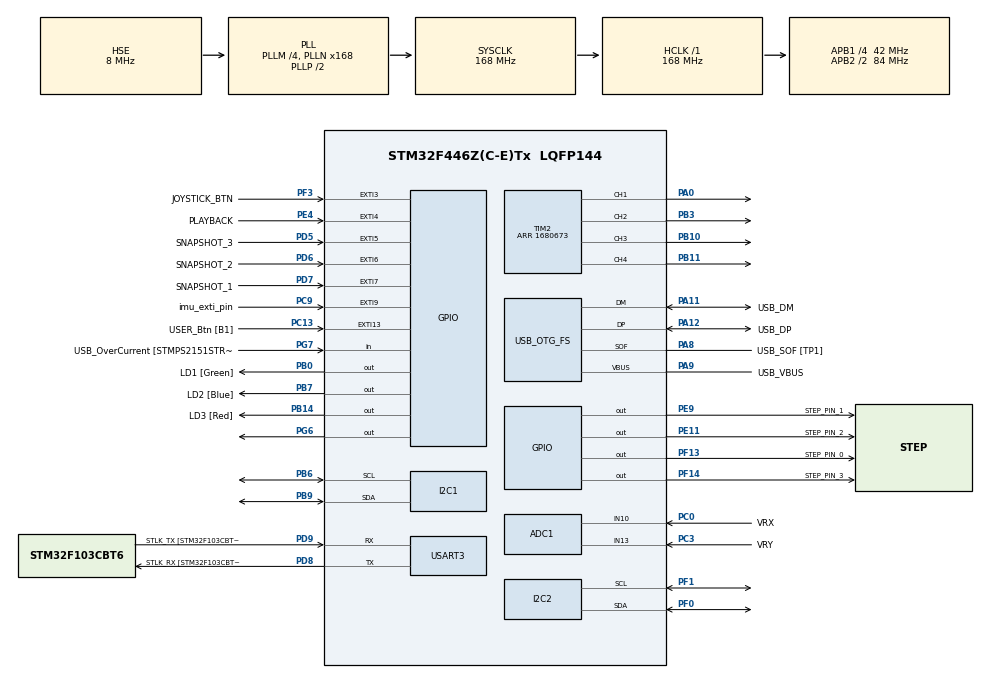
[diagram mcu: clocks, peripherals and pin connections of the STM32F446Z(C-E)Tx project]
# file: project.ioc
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ADC1.Channel-0\#ChannelRegularConversion=ADC_CHANNEL_10
ADC1.Channel-1\#ChannelRegularConversion=ADC_CHANNEL_13
ADC1.ContinuousConvMode=ENABLE
ADC1.NbrOfConversion=2
ADC1.NbrOfConversionFlag=1
ADC1.Rank-0\#ChannelRegularConversion=1
ADC1.Rank-1\#ChannelRegularConversion=2
ADC1.SamplingTime-0\#ChannelRegularConversion=ADC_SAMPLETIME_84CYCLES
ADC1.SamplingTime-1\#ChannelRegularConversion=ADC_SAMPLETIME_84CYCLES
ADC1.ScanConvMode=ENABLE
ADC1.master=1
Dma.ADC1.0.Direction=DMA_PERIPH_TO_MEMORY
Dma.ADC1.0.FIFOMode=DMA_FIFOMODE_DISABLE
Dma.ADC1.0.Instance=DMA2_Stream0
Dma.ADC1.0.MemDataAlignment=DMA_MDATAALIGN_HALFWORD
Dma.ADC1.0.MemInc=DMA_MINC_ENABLE
Dma.ADC1.0.Mode=DMA_CIRCULAR
Dma.ADC1.0.PeriphDataAlignment=DMA_PDATAALIGN_HALFWORD
Dma.ADC1.0.PeriphInc=DMA_PINC_DISABLE
Dma.ADC1.0.Priority=DMA_PRIORITY_LOW
Dma.Request0=ADC1
I2C1.I2C_Mode=I2C_Fast
Mcu.Family=STM32F4
Mcu.Name=STM32F446Z(C-E)Tx
Mcu.Package=LQFP144
NVIC.DMA2_Stream0_IRQn=true\:0\:0\:false\:false\:true\:false\:true\:true
NVIC.EXTI15_10_IRQn=true\:0\:0\:false\:false\:true\:true\:true\:true
NVIC.EXTI3_IRQn=true\:0\:0\:false\:false\:true\:true\:true\:true
NVIC.EXTI4_IRQn=true\:0\:0\:false\:false\:true\:true\:true\:true
NVIC.EXTI9_5_IRQn=true\:0\:0\:false\:false\:true\:true\:true\:true
NVIC.PriorityGroup=NVIC_PRIORITYGROUP_4
NVIC.TIM3_IRQn=true\:0\:0\:false\:false\:true\:true\:true\:true
NVIC.TIM4_IRQn=true\:0\:0\:false\:false\:true\:true\:true\:true
NVIC.TIM7_IRQn=true\:0\:0\:false\:false\:true\:true\:true\:true
PA0-WKUP.Signal=S_TIM2_CH1_ETR
PA10.GPIO_Label=USB_ID
PA10.Signal=USB_OTG_FS_ID
PA11.GPIO_Label=USB_DM
PA11.Mode=Device_Only
PA11.Signal=USB_OTG_FS_DM
PA12.GPIO_Label=USB_DP
PA12.Mode=Device_Only
PA12.Signal=USB_OTG_FS_DP
PA13.GPIO_Label=TMS
PA13.Mode=Serial_Wire
PA13.Signal=SYS_JTMS-SWDIO
PA14.GPIO_Label=TCK
PA14.Mode=Serial_Wire
PA14.Signal=SYS_JTCK-SWCLK
PA8.GPIO_Label=USB_SOF [TP1]
PA8.Mode=Activate_SOF_FS
PA8.Signal=USB_OTG_FS_SOF
PA9.GPIO_Label=USB_VBUS
PA9.Mode=Activate_VBUS
PA9.Signal=USB_OTG_FS_VBUS
PB0.GPIO_Label=LD1 [Green]
PB0.Signal=GPIO_Output
PB10.Signal=S_TIM2_CH3
PB11.Signal=S_TIM2_CH4
PB14.GPIO_Label=LD3 [Red]
PB14.Signal=GPIO_Output
PB3.Signal=S_TIM2_CH2
PB6.Mode=I2C
PB6.Signal=I2C1_SCL
PB7.GPIO_Label=LD2 [Blue]
PB7.Signal=GPIO_Output
PB9.Mode=I2C
PB9.Signal=I2C1_SDA
PC0.GPIO_Label=VRX
PC0.Signal=ADCx_IN10
PC13.GPIO_Label=USER_Btn [B1]
PC13.Signal=GPXTI13
PC14-OSC32_IN.Mode=LSE-External-Oscillator
PC14-OSC32_IN.Signal=RCC_OSC32_IN
PC15-OSC32_OUT.Mode=LSE-External-Oscillator
PC15-OSC32_OUT.Signal=RCC_OSC32_OUT
PC3.GPIO_Label=VRY
PC3.Signal=ADCx_IN13
PC9.GPIO_Label=imu_exti_pin
PC9.Signal=GPXTI9
PD5.GPIO_Label=SNAPSHOT_3
PD5.GPIO_ModeDefaultEXTI=GPIO_MODE_IT_FALLING
PD5.GPIO_PuPd=GPIO_PULLUP
PD5.Signal=GPXTI5
PD6.GPIO_Label=SNAPSHOT_2
PD6.GPIO_ModeDefaultEXTI=GPIO_MODE_IT_FALLING
PD6.GPIO_PuPd=GPIO_PULLUP
PD6.Signal=GPXTI6
PD7.GPIO_Label=SNAPSHOT_1
PD7.GPIO_ModeDefaultEXTI=GPIO_MODE_IT_FALLING
PD7.GPIO_PuPd=GPIO_PULLUP
PD7.Signal=GPXTI7
PD8.GPIO_Label=STLK_RX [STM32F103CBT6_PA3]
PD8.Mode=Asynchronous
PD8.Signal=USART3_TX
PD9.GPIO_Label=STLK_TX [STM32F103CBT6_PA2]
PD9.Mode=Asynchronous
PD9.Signal=USART3_RX
PE11.GPIO_Label=STEP_PIN_2
PE11.Signal=GPIO_Output
PE4.GPIO_Label=PLAYBACK
PE4.GPIO_ModeDefaultEXTI=GPIO_MODE_IT_FALLING
PE4.GPIO_PuPd=GPIO_PULLUP
PE4.Signal=GPXTI4
PE9.GPIO_Label=STEP_PIN_1
PE9.Signal=GPIO_Output
PF0.Mode=I2C
PF0.Signal=I2C2_SDA
PF1.Mode=I2C
PF1.Signal=I2C2_SCL
PF13.GPIO_Label=STEP_PIN_0
PF13.Signal=GPIO_Output
PF14.GPIO_Label=STEP_PIN_3
PF14.Signal=GPIO_Output
PF3.GPIO_Label=JOYSTICK_BTN
PF3.GPIO_ModeDefaultEXTI=GPIO_MODE_IT_FALLING
PF3.GPIO_PuPd=GPIO_PULLUP
PF3.Signal=GPXTI3
PG6.Signal=GPIO_Output
PG7.GPIO_Label=USB_OverCurrent [STMPS2151STR_FAULT]
PG7.Signal=GPIO_Input
PH0-OSC_IN.GPIO_Label=MCO [STM32F103CBT6_PA8]
PH0-OSC_IN.Mode=HSE-External-Clock-Source
PH0-OSC_IN.Signal=RCC_OSC_IN
PH1-OSC_OUT.Mode=HSE-External-Clock-Source
PH1-OSC_OUT.Signal=RCC_OSC_OUT
ProjectManager.HeapSize=0x200
ProjectManager.StackSize=0x400
ProjectManager.TargetToolchain=STM32CubeIDE
RCC.48MHZClocksFreq_Value=24000000
RCC.AHBFreq_Value=168000000
RCC.APB1CLKDivider=RCC_HCLK_DIV4
RCC.APB1Freq_Value=42000000
RCC.APB1TimFreq_Value=84000000
RCC.APB2CLKDivider=RCC_HCLK_DIV2
RCC.APB2Freq_Value=84000000
RCC.APB2TimFreq_Value=168000000
RCC.CortexFreq_Value=168000000
RCC.HCLKFreq_Value=168000000
RCC.HSE_VALUE=8000000
RCC.HSI_VALUE=16000000
RCC.PLLM=4
RCC.PLLMUL=RCC_PLL_MUL9
RCC.PLLN=168
RCC.PLLQ=7
RCC.PRESCALERUSB=RCC_USBCLKSOURCE_PLL_DIV1_5
RCC.SYSCLKFreq_VALUE=168000000
RCC.SYSCLKSource=RCC_SYSCLKSOURCE_PLLCLK
RCC.SYSCLKSourceVirtual=RCC_SYSCLKSOURCE_PLLCLK
RCC.USBFreq_Value=48000000
RCC.VCOOutputFreq_Value=336000000
SH.ADCx_IN10.0=ADC1_IN10,IN10
SH.ADCx_IN13.0=ADC1_IN13,IN13
SH.S_TIM2_CH1_ETR.0=TIM2_CH1,PWM Generation1 CH1
SH.S_TIM2_CH2.0=TIM2_CH2,PWM Generation2 CH2
SH.S_TIM2_CH3.0=TIM2_CH3,PWM Generation3 CH3
SH.S_TIM2_CH4.0=TIM2_CH4,PWM Generation4 CH4
TIM1.Prescaler=84-1
TIM2.Channel-PWM\ Generation1\ CH1=TIM_CHANNEL_1
TIM2.Channel-PWM\ Generation2\ CH2=TIM_CHANNEL_2
TIM2.Channel-PWM\ Generation3\ CH3=TIM_CHANNEL_3
TIM2.Channel-PWM\ Generation4\ CH4=TIM_CHANNEL_4
TIM2.Period=1680673
TIM3.Period=499
TIM3.Prescaler=83
TIM4.Period=30000 - 1
TIM4.Prescaler=84
TIM7.AutoReloadPreload=TIM_AUTORELOAD_PRELOAD_ENABLE
TIM7.Period=1000 - 1
TIM7.Prescaler=84
USART3.VirtualMode=VM_ASYNC
USB_OTG_FS.VirtualMode=Device_Only
VP_TIM1_VS_ClockSourceINT.Mode=Internal
VP_TIM2_VS_ClockSourceINT.Mode=Internal
VP_TIM2_VS_ClockSourceITR.Mode=TriggerSource_ITR0
VP_TIM3_VS_ClockSourceINT.Mode=Internal
VP_TIM4_VS_ClockSourceINT.Mode=Internal
VP_TIM7_VS_ClockSourceINT.Mode=Enable_Timer
board=NUCLEO-F446ZE

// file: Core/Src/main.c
/* USER CODE BEGIN Header */
/**
  ******************************************************************************
  * @file           : main.c
  * @brief          : Main program body
  ******************************************************************************
  * @attention
  *
  * Copyright (c) 2026 STMicroelectronics.
  * All rights reserved.
  *
  * This software is licensed under terms that can be found in the LICENSE file
  * in the root directory of this software component.
  * If no LICENSE file comes with this software, it is provided AS-IS.
  *
  ******************************************************************************
  */
/* USER CODE END Header */
#include "main.h"

/* USER CODE BEGIN Includes */
#include <string.h>
#include <stdio.h>
#include "mpu6050.h"
#include <math.h>
#include "sg90.h"
#include "ssd1306.h"
#include "step_motor.h"
#include "joystick.h"
#ifndef M_PI
#define M_PI 3.14159265358979323846
#endif

/* USER CODE END Includes */

ADC_HandleTypeDef hadc1;
DMA_HandleTypeDef hdma_adc1;

I2C_HandleTypeDef hi2c1;
I2C_HandleTypeDef hi2c2;

TIM_HandleTypeDef htim1;
TIM_HandleTypeDef htim2;
TIM_HandleTypeDef htim3;
TIM_HandleTypeDef htim4;
TIM_HandleTypeDef htim7;

UART_HandleTypeDef huart3;

PCD_HandleTypeDef hpcd_USB_OTG_FS;

void SystemClock_Config(void);
static void MX_GPIO_Init(void);
static void MX_DMA_Init(void);
static void MX_USART3_UART_Init(void);
static void MX_USB_OTG_FS_PCD_Init(void);
static void MX_I2C2_Init(void);
static void MX_TIM1_Init(void);
static void MX_TIM2_Init(void);
static void MX_I2C1_Init(void);
static void MX_ADC1_Init(void);
static void MX_TIM3_Init(void);
static void MX_TIM4_Init(void);
static void MX_TIM7_Init(void);

/* USER CODE BEGIN 0 */
void print_msg(char * msg) {
  HAL_UART_Transmit(&huart3, (uint8_t *)msg, strlen(msg), 100);
}

int8_t current_row = -1, current_col = -1;
int8_t last = -1;
uint8_t it_flag[3] = {0};
int8_t row;
int8_t row_it;
int8_t pressed;
uint64_t disable;
uint64_t disable_start;
char keypad[4][3] = {
   {'1','2','3'},
   {'4','5','6'},
   {'7','8','9'},
   {'*','0','#'}
};

volatile uint8_t imu_flag = 0;
volatile int16_t accel_data[3];
volatile int16_t gyro_data[3];
float accel_g[3];
float gyro_dps[3];
uint8_t msg[100];

uint16_t cur_time = 0;
uint16_t last_tick = 0;
float dt;

uint8_t prev_state=1;
uint8_t current_state=1;
uint8_t idle=0;
uint32_t idle_start;

float gyro_yaw_zero_bias = 0;

//IMU_Angles_t imu_angles = {
//		0.0f, //roll
//		0.0f, //pitch
//		0.0f //yaw
//};

//EulerAngles_t imu_angles;

uint16_t SSD1306_CurrentX;
uint16_t SSD1306_CurrentY;
float x,y,z;
uint16_t counts;
char buffer[100];

uint8_t motor_set_zero = 1;
uint8_t motor_play_back = 0;
uint8_t claw_open_flag = 0;

float mpu6050_get_zero_bias()
{
	uint16_t imu_cal_count = 0;
	float gyro_yaw_zero_bias = 0;
	while(imu_cal_count < 20){
		if (imu_flag){
			gyro_yaw_zero_bias += gyro_data[2];;
			imu_cal_count ++;
			imu_flag = 0;
		}
	}

	return gyro_yaw_zero_bias / imu_cal_count;
}

typedef enum {
	IDLE = 0,
	STATE_1,
	STATE_2,
	STATE_3
}PLAYBACK_STATES_t;

/* USER CODE END 0 */

int main(void)
{

  /* MCU Configuration--------------------------------------------------------*/

  /* Reset of all peripherals, Initializes the Flash interface and the Systick. */
  HAL_Init();

  /* Configure the system clock */
  SystemClock_Config();

  /* Initialize all configured peripherals */
  MX_GPIO_Init();
  MX_DMA_Init();
  MX_USART3_UART_Init();
  MX_USB_OTG_FS_PCD_Init();
  MX_I2C2_Init();
  MX_TIM1_Init();
  MX_TIM2_Init();
  MX_I2C1_Init();
  MX_ADC1_Init();
  MX_TIM3_Init();
  MX_TIM4_Init();
  MX_TIM7_Init();
  /* USER CODE BEGIN 2 */

  if(SSD1306_Init()!= HAL_OK) HAL_GPIO_WritePin(LD3_GPIO_Port, LD3_Pin, GPIO_PIN_SET);
  HAL_Delay(300);
  print_msg("SSD init complete\r\n");
  SSD1306_Clear();
  SSD1306_Stopscroll();

	SSD1306_CurrentX=0;
	SSD1306_CurrentY=0;
	sprintf(buffer, " X %.2f\n \n Y Angle: %.2f\n \n Z Angle: %.2f", x, y, z);//Y angle: %.2f\nZ angle: %.2f
	SSD1306_Puts(buffer, &Font_7x10);
	SSD1306_UpdateScreen();
	HAL_Delay(300);
	SSD1306_Clear();

  if(mpu6050_init(&hi2c2, MPU6050_ACCEL_RANGE_2G, MPU6050_GYRO_RANGE_250) != HAL_OK){
	  HAL_GPIO_WritePin(LD2_GPIO_Port, LD2_Pin, GPIO_PIN_SET);
	  while(1);
  }
  if (adc_dma_init(&hadc1) != HAL_OK) {
	  HAL_GPIO_WritePin(LD3_GPIO_Port, LD3_Pin, GPIO_PIN_SET);
	  while(1);
  }
  if(sg90_init(&htim2) != HAL_OK) {
	  HAL_GPIO_WritePin(LD1_GPIO_Port, LD1_Pin, GPIO_PIN_SET);
	  while(1);
  }

//    sg90_sweep_test(&htim2);

  /* USER CODE END 2 */

  /* Infinite loop */
  /* USER CODE BEGIN WHILE */

//  mpu6050_getAccelValue(&hi2c2, accel_data);
//  mpu6050_getGyroValue(&hi2c2, gyro_data);
//    dps = degrees per second
  HAL_TIM_Base_Start(&htim1);
  HAL_TIM_Base_Start_IT(&htim3);
  HAL_TIM_Base_Start_IT(&htim4);
  HAL_TIM_Base_Start_IT(&htim7);
//  char message[100];
  uint32_t last_joystick_update_tick = HAL_GetTick();
  uint32_t display_adc = HAL_GetTick();
  char message[100];

  while (1)
  {
    /* USER CODE END WHILE */

    /* USER CODE BEGIN 3 */

	  if(motor_set_zero){
		  sg90_set_zero(&htim2);
	  }

	  if (claw_open_flag && !motor_set_zero){
		  claw_motor -> angle = -45.0f;
		  sg90_set_angle(&htim2, claw_motor);
	  }
	  else {
		  claw_motor -> angle = 0.0f;
		  sg90_set_angle(&htim2, claw_motor);
	  }

	  if (target_absolute_steps != current_absolute_steps){
		  HAL_TIM_Base_Start_IT(&htim7);
	  }

	  if(motor_play_back && !motor_set_zero){

		if (idle){
			if ((HAL_GetTick() - idle_start) > 100){
				idle = 0;
			}
		}

		if (current_state == 1&& !idle){
			for (int i = 0; i < IMU_SERVO_MOTOR_COUNT + 1; i ++){
					motors[i].angle = motor_snapshot[0][i];
					sg90_set_angle(&htim2, &motors[i]);
				}
			idle = 1;
			idle_start =  HAL_GetTick();
			current_state = 2;
			prev_state = 1;
			HAL_GPIO_WritePin(LD1_GPIO_Port, LD1_Pin, GPIO_PIN_SET);
			HAL_GPIO_WritePin(LD3_GPIO_Port, LD3_Pin, GPIO_PIN_RESET);
			HAL_GPIO_WritePin(LD2_GPIO_Port, LD2_Pin, GPIO_PIN_RESET);
			HAL_GPIO_WritePin(LD1_GPIO_Port, LD1_Pin, GPIO_PIN_RESET);
		}

		if (current_state == 2&& !idle){
			for (int i = 0; i < IMU_SERVO_MOTOR_COUNT + 1; i ++){
				motors[i].angle = motor_snapshot[1][i];
				sg90_set_angle(&htim2, &motors[i]);
			}
			idle = 1;
			idle_start =  HAL_GetTick();
			if (prev_state == 1){
				current_state = 3;
			}else {
				current_state = 1;
			}
			prev_state == 2;
			HAL_GPIO_WritePin(LD2_GPIO_Port, LD2_Pin, GPIO_PIN_SET);
			HAL_GPIO_WritePin(LD3_GPIO_Port, LD3_Pin, GPIO_PIN_RESET);
			HAL_GPIO_WritePin(LD2_GPIO_Port, LD2_Pin, GPIO_PIN_RESET);
			HAL_GPIO_WritePin(LD1_GPIO_Port, LD1_Pin, GPIO_PIN_RESET);

		}

		if (current_state == 3&& !idle){
			for (int i = 0; i < IMU_SERVO_MOTOR_COUNT + 1; i ++){
				motors[i].angle = motor_snapshot[2][i];
				sg90_set_angle(&htim2, &motors[i]);
			}
			idle = 1;
			idle_start =  HAL_GetTick();
			current_state = 2;
			prev_state = 3;
			HAL_GPIO_WritePin(LD3_GPIO_Port, LD3_Pin, GPIO_PIN_SET);
			HAL_GPIO_WritePin(LD3_GPIO_Port, LD3_Pin, GPIO_PIN_RESET);
			HAL_GPIO_WritePin(LD2_GPIO_Port, LD2_Pin, GPIO_PIN_RESET);
			HAL_GPIO_WritePin(LD1_GPIO_Port, LD1_Pin, GPIO_PIN_RESET);

		}

	  }

  }
  /* USER CODE END 3 */
}

void SystemClock_Config(void)
{
  RCC_OscInitTypeDef RCC_OscInitStruct = {0};
  RCC_ClkInitTypeDef RCC_ClkInitStruct = {0};

  /** Configure the main internal regulator output voltage
  */
  __HAL_RCC_PWR_CLK_ENABLE();
  __HAL_PWR_VOLTAGESCALING_CONFIG(PWR_REGULATOR_VOLTAGE_SCALE1);

  /** Initializes the RCC Oscillators according to the specified parameters
  * in the RCC_OscInitTypeDef structure.
  */
  RCC_OscInitStruct.OscillatorType = RCC_OSCILLATORTYPE_HSE;
  RCC_OscInitStruct.HSEState = RCC_HSE_BYPASS;
  RCC_OscInitStruct.PLL.PLLState = RCC_PLL_ON;
  RCC_OscInitStruct.PLL.PLLSource = RCC_PLLSOURCE_HSE;
  RCC_OscInitStruct.PLL.PLLM = 4;
  RCC_OscInitStruct.PLL.PLLN = 168;
  RCC_OscInitStruct.PLL.PLLP = RCC_PLLP_DIV2;
  RCC_OscInitStruct.PLL.PLLQ = 7;
  RCC_OscInitStruct.PLL.PLLR = 2;
  if (HAL_RCC_OscConfig(&RCC_OscInitStruct) != HAL_OK)
  {
    Error_Handler();
  }

  /** Initializes the CPU, AHB and APB buses clocks
  */
  RCC_ClkInitStruct.ClockType = RCC_CLOCKTYPE_HCLK|RCC_CLOCKTYPE_SYSCLK
                              |RCC_CLOCKTYPE_PCLK1|RCC_CLOCKTYPE_PCLK2;
  RCC_ClkInitStruct.SYSCLKSource = RCC_SYSCLKSOURCE_PLLCLK;
  RCC_ClkInitStruct.AHBCLKDivider = RCC_SYSCLK_DIV1;
  RCC_ClkInitStruct.APB1CLKDivider = RCC_HCLK_DIV4;
  RCC_ClkInitStruct.APB2CLKDivider = RCC_HCLK_DIV2;

  if (HAL_RCC_ClockConfig(&RCC_ClkInitStruct, FLASH_LATENCY_5) != HAL_OK)
  {
    Error_Handler();
  }
}

static void MX_ADC1_Init(void)
{

  ADC_ChannelConfTypeDef sConfig = {0};

  /** Configure the global features of the ADC (Clock, Resolution, Data Alignment and number of conversion)
  */
  hadc1.Instance = ADC1;
  hadc1.Init.ClockPrescaler = ADC_CLOCK_SYNC_PCLK_DIV4;
  hadc1.Init.Resolution = ADC_RESOLUTION_12B;
  hadc1.Init.ScanConvMode = ENABLE;
  hadc1.Init.ContinuousConvMode = ENABLE;
  hadc1.Init.DiscontinuousConvMode = DISABLE;
  hadc1.Init.ExternalTrigConvEdge = ADC_EXTERNALTRIGCONVEDGE_NONE;
  hadc1.Init.ExternalTrigConv = ADC_SOFTWARE_START;
  hadc1.Init.DataAlign = ADC_DATAALIGN_RIGHT;
  hadc1.Init.NbrOfConversion = 2;
  hadc1.Init.DMAContinuousRequests = DISABLE;
  hadc1.Init.EOCSelection = ADC_EOC_SINGLE_CONV;
  if (HAL_ADC_Init(&hadc1) != HAL_OK)
  {
    Error_Handler();
  }

  /** Configure for the selected ADC regular channel its corresponding rank in the sequencer and its sample time.
  */
  sConfig.Channel = ADC_CHANNEL_10;
  sConfig.Rank = 1;
  sConfig.SamplingTime = ADC_SAMPLETIME_84CYCLES;
  if (HAL_ADC_ConfigChannel(&hadc1, &sConfig) != HAL_OK)
  {
    Error_Handler();
  }

  /** Configure for the selected ADC regular channel its corresponding rank in the sequencer and its sample time.
  */
  sConfig.Channel = ADC_CHANNEL_13;
  sConfig.Rank = 2;
  if (HAL_ADC_ConfigChannel(&hadc1, &sConfig) != HAL_OK)
  {
    Error_Handler();
  }

}

static void MX_I2C1_Init(void)
{

  hi2c1.Instance = I2C1;
  hi2c1.Init.ClockSpeed = 400000;
  hi2c1.Init.DutyCycle = I2C_DUTYCYCLE_2;
  hi2c1.Init.OwnAddress1 = 0;
  hi2c1.Init.AddressingMode = I2C_ADDRESSINGMODE_7BIT;
  hi2c1.Init.DualAddressMode = I2C_DUALADDRESS_DISABLE;
  hi2c1.Init.OwnAddress2 = 0;
  hi2c1.Init.GeneralCallMode = I2C_GENERALCALL_DISABLE;
  hi2c1.Init.NoStretchMode = I2C_NOSTRETCH_DISABLE;
  if (HAL_I2C_Init(&hi2c1) != HAL_OK)
  {
    Error_Handler();
  }

}

static void MX_I2C2_Init(void)
{

  hi2c2.Instance = I2C2;
  hi2c2.Init.ClockSpeed = 100000;
  hi2c2.Init.DutyCycle = I2C_DUTYCYCLE_2;
  hi2c2.Init.OwnAddress1 = 0;
  hi2c2.Init.AddressingMode = I2C_ADDRESSINGMODE_7BIT;
  hi2c2.Init.DualAddressMode = I2C_DUALADDRESS_DISABLE;
  hi2c2.Init.OwnAddress2 = 0;
  hi2c2.Init.GeneralCallMode = I2C_GENERALCALL_DISABLE;
  hi2c2.Init.NoStretchMode = I2C_NOSTRETCH_DISABLE;
  if (HAL_I2C_Init(&hi2c2) != HAL_OK)
  {
    Error_Handler();
  }

}

static void MX_TIM1_Init(void)
{

  TIM_ClockConfigTypeDef sClockSourceConfig = {0};
  TIM_MasterConfigTypeDef sMasterConfig = {0};

  htim1.Instance = TIM1;
  htim1.Init.Prescaler = 84-1;
  htim1.Init.CounterMode = TIM_COUNTERMODE_UP;
  htim1.Init.Period = 65535;
  htim1.Init.ClockDivision = TIM_CLOCKDIVISION_DIV1;
  htim1.Init.RepetitionCounter = 0;
  htim1.Init.AutoReloadPreload = TIM_AUTORELOAD_PRELOAD_DISABLE;
  if (HAL_TIM_Base_Init(&htim1) != HAL_OK)
  {
    Error_Handler();
  }
  sClockSourceConfig.ClockSource = TIM_CLOCKSOURCE_INTERNAL;
  if (HAL_TIM_ConfigClockSource(&htim1, &sClockSourceConfig) != HAL_OK)
  {
    Error_Handler();
  }
  sMasterConfig.MasterOutputTrigger = TIM_TRGO_RESET;
  sMasterConfig.MasterSlaveMode = TIM_MASTERSLAVEMODE_DISABLE;
  if (HAL_TIMEx_MasterConfigSynchronization(&htim1, &sMasterConfig) != HAL_OK)
  {
    Error_Handler();
  }

}

static void MX_TIM2_Init(void)
{

  TIM_ClockConfigTypeDef sClockSourceConfig = {0};
  TIM_SlaveConfigTypeDef sSlaveConfig = {0};
  TIM_MasterConfigTypeDef sMasterConfig = {0};
  TIM_OC_InitTypeDef sConfigOC = {0};

  htim2.Instance = TIM2;
  htim2.Init.Prescaler = 0;
  htim2.Init.CounterMode = TIM_COUNTERMODE_UP;
  htim2.Init.Period = 1680673;
  htim2.Init.ClockDivision = TIM_CLOCKDIVISION_DIV1;
  htim2.Init.AutoReloadPreload = TIM_AUTORELOAD_PRELOAD_DISABLE;
  if (HAL_TIM_Base_Init(&htim2) != HAL_OK)
  {
    Error_Handler();
  }
  sClockSourceConfig.ClockSource = TIM_CLOCKSOURCE_INTERNAL;
  if (HAL_TIM_ConfigClockSource(&htim2, &sClockSourceConfig) != HAL_OK)
  {
    Error_Handler();
  }
  if (HAL_TIM_PWM_Init(&htim2) != HAL_OK)
  {
    Error_Handler();
  }
  sSlaveConfig.SlaveMode = TIM_SLAVEMODE_DISABLE;
  sSlaveConfig.InputTrigger = TIM_TS_ITR0;
  if (HAL_TIM_SlaveConfigSynchro(&htim2, &sSlaveConfig) != HAL_OK)
  {
    Error_Handler();
  }
  sMasterConfig.MasterOutputTrigger = TIM_TRGO_RESET;
  sMasterConfig.MasterSlaveMode = TIM_MASTERSLAVEMODE_DISABLE;
  if (HAL_TIMEx_MasterConfigSynchronization(&htim2, &sMasterConfig) != HAL_OK)
  {
    Error_Handler();
  }
  sConfigOC.OCMode = TIM_OCMODE_PWM1;
  sConfigOC.Pulse = 0;
  sConfigOC.OCPolarity = TIM_OCPOLARITY_HIGH;
  sConfigOC.OCFastMode = TIM_OCFAST_DISABLE;
  if (HAL_TIM_PWM_ConfigChannel(&htim2, &sConfigOC, TIM_CHANNEL_1) != HAL_OK)
  {
    Error_Handler();
  }
  if (HAL_TIM_PWM_ConfigChannel(&htim2, &sConfigOC, TIM_CHANNEL_2) != HAL_OK)
  {
    Error_Handler();
  }
  if (HAL_TIM_PWM_ConfigChannel(&htim2, &sConfigOC, TIM_CHANNEL_3) != HAL_OK)
  {
    Error_Handler();
  }
  if (HAL_TIM_PWM_ConfigChannel(&htim2, &sConfigOC, TIM_CHANNEL_4) != HAL_OK)
  {
    Error_Handler();
  }
  HAL_TIM_MspPostInit(&htim2);

}

static void MX_TIM3_Init(void)
{

  TIM_ClockConfigTypeDef sClockSourceConfig = {0};
  TIM_MasterConfigTypeDef sMasterConfig = {0};

  htim3.Instance = TIM3;
  htim3.Init.Prescaler = 83;
  htim3.Init.CounterMode = TIM_COUNTERMODE_UP;
  htim3.Init.Period = 499;
  htim3.Init.ClockDivision = TIM_CLOCKDIVISION_DIV1;
  htim3.Init.AutoReloadPreload = TIM_AUTORELOAD_PRELOAD_DISABLE;
  if (HAL_TIM_Base_Init(&htim3) != HAL_OK)
  {
    Error_Handler();
  }
  sClockSourceConfig.ClockSource = TIM_CLOCKSOURCE_INTERNAL;
  if (HAL_TIM_ConfigClockSource(&htim3, &sClockSourceConfig) != HAL_OK)
  {
    Error_Handler();
  }
  sMasterConfig.MasterOutputTrigger = TIM_TRGO_RESET;
  sMasterConfig.MasterSlaveMode = TIM_MASTERSLAVEMODE_DISABLE;
  if (HAL_TIMEx_MasterConfigSynchronization(&htim3, &sMasterConfig) != HAL_OK)
  {
    Error_Handler();
  }

}

static void MX_TIM4_Init(void)
{

  TIM_ClockConfigTypeDef sClockSourceConfig = {0};
  TIM_MasterConfigTypeDef sMasterConfig = {0};

  htim4.Instance = TIM4;
  htim4.Init.Prescaler = 84;
  htim4.Init.CounterMode = TIM_COUNTERMODE_UP;
  htim4.Init.Period = 30000 - 1;
  htim4.Init.ClockDivision = TIM_CLOCKDIVISION_DIV1;
  htim4.Init.AutoReloadPreload = TIM_AUTORELOAD_PRELOAD_DISABLE;
  if (HAL_TIM_Base_Init(&htim4) != HAL_OK)
  {
    Error_Handler();
  }
  sClockSourceConfig.ClockSource = TIM_CLOCKSOURCE_INTERNAL;
  if (HAL_TIM_ConfigClockSource(&htim4, &sClockSourceConfig) != HAL_OK)
  {
    Error_Handler();
  }
  sMasterConfig.MasterOutputTrigger = TIM_TRGO_RESET;
  sMasterConfig.MasterSlaveMode = TIM_MASTERSLAVEMODE_DISABLE;
  if (HAL_TIMEx_MasterConfigSynchronization(&htim4, &sMasterConfig) != HAL_OK)
  {
    Error_Handler();
  }

}

static void MX_TIM7_Init(void)
{

  TIM_MasterConfigTypeDef sMasterConfig = {0};

  htim7.Instance = TIM7;
  htim7.Init.Prescaler = 84;
  htim7.Init.CounterMode = TIM_COUNTERMODE_UP;
  htim7.Init.Period = 1000 - 1;
  htim7.Init.AutoReloadPreload = TIM_AUTORELOAD_PRELOAD_ENABLE;
  if (HAL_TIM_Base_Init(&htim7) != HAL_OK)
  {
    Error_Handler();
  }
  sMasterConfig.MasterOutputTrigger = TIM_TRGO_RESET;
  sMasterConfig.MasterSlaveMode = TIM_MASTERSLAVEMODE_DISABLE;
  if (HAL_TIMEx_MasterConfigSynchronization(&htim7, &sMasterConfig) != HAL_OK)
  {
    Error_Handler();
  }

}

static void MX_USART3_UART_Init(void)
{

  huart3.Instance = USART3;
  huart3.Init.BaudRate = 115200;
  huart3.Init.WordLength = UART_WORDLENGTH_8B;
  huart3.Init.StopBits = UART_STOPBITS_1;
  huart3.Init.Parity = UART_PARITY_NONE;
  huart3.Init.Mode = UART_MODE_TX_RX;
  huart3.Init.HwFlowCtl = UART_HWCONTROL_NONE;
  huart3.Init.OverSampling = UART_OVERSAMPLING_16;
  if (HAL_UART_Init(&huart3) != HAL_OK)
  {
    Error_Handler();
  }

}

static void MX_USB_OTG_FS_PCD_Init(void)
{

  hpcd_USB_OTG_FS.Instance = USB_OTG_FS;
  hpcd_USB_OTG_FS.Init.dev_endpoints = 6;
  hpcd_USB_OTG_FS.Init.speed = PCD_SPEED_FULL;
  hpcd_USB_OTG_FS.Init.dma_enable = DISABLE;
  hpcd_USB_OTG_FS.Init.phy_itface = PCD_PHY_EMBEDDED;
  hpcd_USB_OTG_FS.Init.Sof_enable = ENABLE;
  hpcd_USB_OTG_FS.Init.low_power_enable = DISABLE;
  hpcd_USB_OTG_FS.Init.lpm_enable = DISABLE;
  hpcd_USB_OTG_FS.Init.vbus_sensing_enable = ENABLE;
  hpcd_USB_OTG_FS.Init.use_dedicated_ep1 = DISABLE;
  if (HAL_PCD_Init(&hpcd_USB_OTG_FS) != HAL_OK)
  {
    Error_Handler();
  }

}

static void MX_DMA_Init(void)
{

  /* DMA controller clock enable */
  __HAL_RCC_DMA2_CLK_ENABLE();

  /* DMA interrupt init */
  /* DMA2_Stream0_IRQn interrupt configuration */
  HAL_NVIC_SetPriority(DMA2_Stream0_IRQn, 0, 0);
  HAL_NVIC_EnableIRQ(DMA2_Stream0_IRQn);

}

static void MX_GPIO_Init(void)
{
  GPIO_InitTypeDef GPIO_InitStruct = {0};

  /* GPIO Ports Clock Enable */
  __HAL_RCC_GPIOE_CLK_ENABLE();
  __HAL_RCC_GPIOC_CLK_ENABLE();
  __HAL_RCC_GPIOF_CLK_ENABLE();
  __HAL_RCC_GPIOH_CLK_ENABLE();
  __HAL_RCC_GPIOA_CLK_ENABLE();
  __HAL_RCC_GPIOB_CLK_ENABLE();
  __HAL_RCC_GPIOD_CLK_ENABLE();
  __HAL_RCC_GPIOG_CLK_ENABLE();

  /*Configure GPIO pin Output Level */
  HAL_GPIO_WritePin(GPIOB, LD1_Pin|LD3_Pin|LD2_Pin, GPIO_PIN_RESET);

  /*Configure GPIO pin Output Level */
  HAL_GPIO_WritePin(GPIOF, STEP_PIN_0_Pin|STEP_PIN_3_Pin, GPIO_PIN_RESET);

  /*Configure GPIO pin Output Level */
  HAL_GPIO_WritePin(GPIOE, STEP_PIN_1_Pin|STEP_PIN_2_Pin, GPIO_PIN_RESET);

  /*Configure GPIO pin Output Level */
  HAL_GPIO_WritePin(GPIOG, GPIO_PIN_6, GPIO_PIN_RESET);

  /*Configure GPIO pin : PLAYBACK_Pin */
  GPIO_InitStruct.Pin = PLAYBACK_Pin;
  GPIO_InitStruct.Mode = GPIO_MODE_IT_FALLING;
  GPIO_InitStruct.Pull = GPIO_PULLUP;
  HAL_GPIO_Init(PLAYBACK_GPIO_Port, &GPIO_InitStruct);

  /*Configure GPIO pins : USER_Btn_Pin imu_exti_pin_Pin */
  GPIO_InitStruct.Pin = USER_Btn_Pin|imu_exti_pin_Pin;
  GPIO_InitStruct.Mode = GPIO_MODE_IT_RISING;
  GPIO_InitStruct.Pull = GPIO_NOPULL;
  HAL_GPIO_Init(GPIOC, &GPIO_InitStruct);

  /*Configure GPIO pin : JOYSTICK_BTN_Pin */
  GPIO_InitStruct.Pin = JOYSTICK_BTN_Pin;
  GPIO_InitStruct.Mode = GPIO_MODE_IT_FALLING;
  GPIO_InitStruct.Pull = GPIO_PULLUP;
  HAL_GPIO_Init(JOYSTICK_BTN_GPIO_Port, &GPIO_InitStruct);

  /*Configure GPIO pins : LD1_Pin LD3_Pin LD2_Pin */
  GPIO_InitStruct.Pin = LD1_Pin|LD3_Pin|LD2_Pin;
  GPIO_InitStruct.Mode = GPIO_MODE_OUTPUT_PP;
  GPIO_InitStruct.Pull = GPIO_NOPULL;
  GPIO_InitStruct.Speed = GPIO_SPEED_FREQ_LOW;
  HAL_GPIO_Init(GPIOB, &GPIO_InitStruct);

  /*Configure GPIO pins : STEP_PIN_0_Pin STEP_PIN_3_Pin */
  GPIO_InitStruct.Pin = STEP_PIN_0_Pin|STEP_PIN_3_Pin;
  GPIO_InitStruct.Mode = GPIO_MODE_OUTPUT_PP;
  GPIO_InitStruct.Pull = GPIO_NOPULL;
  GPIO_InitStruct.Speed = GPIO_SPEED_FREQ_LOW;
  HAL_GPIO_Init(GPIOF, &GPIO_InitStruct);

  /*Configure GPIO pins : STEP_PIN_1_Pin STEP_PIN_2_Pin */
  GPIO_InitStruct.Pin = STEP_PIN_1_Pin|STEP_PIN_2_Pin;
  GPIO_InitStruct.Mode = GPIO_MODE_OUTPUT_PP;
  GPIO_InitStruct.Pull = GPIO_NOPULL;
  GPIO_InitStruct.Speed = GPIO_SPEED_FREQ_LOW;
  HAL_GPIO_Init(GPIOE, &GPIO_InitStruct);

  /*Configure GPIO pin : PG6 */
  GPIO_InitStruct.Pin = GPIO_PIN_6;
  GPIO_InitStruct.Mode = GPIO_MODE_OUTPUT_PP;
  GPIO_InitStruct.Pull = GPIO_NOPULL;
  GPIO_InitStruct.Speed = GPIO_SPEED_FREQ_LOW;
  HAL_GPIO_Init(GPIOG, &GPIO_InitStruct);

  /*Configure GPIO pin : USB_OverCurrent_Pin */
  GPIO_InitStruct.Pin = USB_OverCurrent_Pin;
  GPIO_InitStruct.Mode = GPIO_MODE_INPUT;
  GPIO_InitStruct.Pull = GPIO_NOPULL;
  HAL_GPIO_Init(USB_OverCurrent_GPIO_Port, &GPIO_InitStruct);

  /*Configure GPIO pins : SNAPSHOT_3_Pin SNAPSHOT_2_Pin SNAPSHOT_1_Pin */
  GPIO_InitStruct.Pin = SNAPSHOT_3_Pin|SNAPSHOT_2_Pin|SNAPSHOT_1_Pin;
  GPIO_InitStruct.Mode = GPIO_MODE_IT_FALLING;
  GPIO_InitStruct.Pull = GPIO_PULLUP;
  HAL_GPIO_Init(GPIOD, &GPIO_InitStruct);

  /* EXTI interrupt init*/
  HAL_NVIC_SetPriority(EXTI3_IRQn, 0, 0);
  HAL_NVIC_EnableIRQ(EXTI3_IRQn);

  HAL_NVIC_SetPriority(EXTI4_IRQn, 0, 0);
  HAL_NVIC_EnableIRQ(EXTI4_IRQn);

  HAL_NVIC_SetPriority(EXTI9_5_IRQn, 0, 0);
  HAL_NVIC_EnableIRQ(EXTI9_5_IRQn);

  HAL_NVIC_SetPriority(EXTI15_10_IRQn, 0, 0);
  HAL_NVIC_EnableIRQ(EXTI15_10_IRQn);

}

void Error_Handler(void)
{
  __disable_irq();
  while (1)
  {
  }
}
